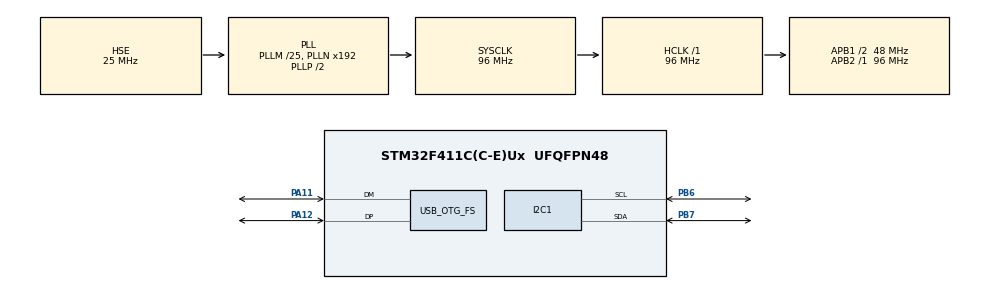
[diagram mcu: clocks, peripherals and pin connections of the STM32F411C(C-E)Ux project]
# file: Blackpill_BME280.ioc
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Mcu.Family=STM32F4
Mcu.Name=STM32F411C(C-E)Ux
Mcu.Package=UFQFPN48
NVIC.OTG_FS_IRQn=true\:0\:0\:false\:false\:true\:false\:true\:true
NVIC.PriorityGroup=NVIC_PRIORITYGROUP_4
PA11.Mode=Device_Only
PA11.Signal=USB_OTG_FS_DM
PA12.Mode=Device_Only
PA12.Signal=USB_OTG_FS_DP
PB6.Mode=I2C
PB6.Signal=I2C1_SCL
PB7.Mode=I2C
PB7.Signal=I2C1_SDA
PH0\ -\ OSC_IN.Mode=HSE-External-Oscillator
PH0\ -\ OSC_IN.Signal=RCC_OSC_IN
PH1\ -\ OSC_OUT.Mode=HSE-External-Oscillator
PH1\ -\ OSC_OUT.Signal=RCC_OSC_OUT
ProjectManager.HeapSize=0x200
ProjectManager.StackSize=0x400
ProjectManager.TargetToolchain=STM32CubeIDE
RCC.48MHZClocksFreq_Value=48000000
RCC.AHBFreq_Value=96000000
RCC.APB1CLKDivider=RCC_HCLK_DIV2
RCC.APB1Freq_Value=48000000
RCC.APB1TimFreq_Value=96000000
RCC.APB2Freq_Value=96000000
RCC.APB2TimFreq_Value=96000000
RCC.CortexFreq_Value=96000000
RCC.HCLKFreq_Value=96000000
RCC.HSE_VALUE=25000000
RCC.HSI_VALUE=16000000
RCC.LSE_VALUE=32768
RCC.PLLM=25
RCC.SYSCLKFreq_VALUE=96000000
RCC.SYSCLKSource=RCC_SYSCLKSOURCE_PLLCLK
RCC.VCOOutputFreq_Value=192000000
USB_DEVICE.CLASS_NAME_FS=CDC
USB_DEVICE.VirtualMode=Cdc
USB_DEVICE.VirtualModeFS=Cdc_FS
USB_OTG_FS.VirtualMode=Device_Only
VP_USB_DEVICE_VS_USB_DEVICE_CDC_FS.Mode=CDC_FS
board=custom

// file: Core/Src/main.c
/* USER CODE BEGIN Header */
/**
  ******************************************************************************
  * @file           : main.c
  * @brief          : Main program body
  ******************************************************************************
  * @attention
  *
  * Copyright (c) 2026 STMicroelectronics.
  * All rights reserved.
  *
  * This software is licensed under terms that can be found in the LICENSE file
  * in the root directory of this software component.
  * If no LICENSE file comes with this software, it is provided AS-IS.
  *
  ******************************************************************************
  */
/* USER CODE END Header */
#include "main.h"
#include "usb_device.h"

/* USER CODE BEGIN Includes */
#include "usbd_cdc_if.h"
#include "bme280.h"
#include <stdio.h>
/* USER CODE END Includes */

I2C_HandleTypeDef hi2c1;

/* USER CODE BEGIN PV */
BME280_t bme;
/* USER CODE END PV */

void SystemClock_Config(void);
static void MX_GPIO_Init(void);
static void MX_I2C1_Init(void);

/* USER CODE BEGIN 0 */

/* Send text over USB serial. CDC_Transmit_FS returns USBD_BUSY if the previous
 * transfer has not finished (or nobody has opened the port yet), so we retry
 * briefly and then give up instead of blocking forever. */
static void usb_print(const char *s, int len)
{
    uint32_t t0 = HAL_GetTick();
    while (CDC_Transmit_FS((uint8_t *)s, (uint16_t)len) == USBD_BUSY)
    {
        if (HAL_GetTick() - t0 > 50) break;
    }
}

/* USER CODE END 0 */

int main(void)
{

  /* MCU Configuration--------------------------------------------------------*/

  /* Reset of all peripherals, Initializes the Flash interface and the Systick. */
  HAL_Init();

  /* Configure the system clock */
  SystemClock_Config();

  /* Initialize all configured peripherals */
  MX_GPIO_Init();
  MX_I2C1_Init();
  MX_USB_DEVICE_Init();
  /* USER CODE BEGIN 2 */
  HAL_Delay(2000);

  uint8_t found = 0;
  for (uint8_t addr = 0x08; addr < 0x78; addr++)
  {
      if (HAL_I2C_IsDeviceReady(&hi2c1, addr << 1, 1, 10) == HAL_OK)
      {
          found = addr;
          break;
      }
  }

  /* Configure the sensor (checks chip ID, reads calibration, starts measuring) */
  HAL_StatusTypeDef st = HAL_ERROR;
  if (found)
  {
      st = BME280_Init(&bme, &hi2c1, found);
  }
  /* USER CODE END 2 */

  /* Infinite loop */
  /* USER CODE BEGIN WHILE */
  while (1)
  {
      char msg[96];
      int len;

      if (!found)
      {
          len = snprintf(msg, sizeof(msg), "No I2C device found. Check wiring.\r\n");
      }
      else if (st != HAL_OK)
      {
          /* chip_id 0x60 = BME280, 0x58 = BMP280, 0x00 = read failed */
          len = snprintf(msg, sizeof(msg),
                         "Init failed at 0x%02X: status=%d chip_id=0x%02X\r\n",
                         found, (int)st, bme.chip_id);
      }
      else
      {
          BME280_Data_t d;

          if (BME280_Read(&bme, &d) == HAL_OK)
          {
              long t = d.temp_c100;
              const char *sign = (t < 0) ? "-" : "";
              if (t < 0) t = -t;

              unsigned long p  = d.press_pa;
              unsigned long h100 = ((unsigned long)d.hum_q10 * 100UL) / 1024UL;

              len = snprintf(msg, sizeof(msg),
                             "T=%s%ld.%02ld C  P=%lu.%02lu hPa  H=%lu.%02lu %%\r\n",
                             sign, t / 100, t % 100,
                             p / 100, p % 100,
                             h100 / 100, h100 % 100);
          }
          else
          {
              len = snprintf(msg, sizeof(msg), "Read failed\r\n");
          }
      }

      usb_print(msg, len);
      HAL_GPIO_TogglePin(GPIOC, GPIO_PIN_13);   /* heartbeat LED */
      HAL_Delay(1000);
    /* USER CODE END WHILE */

  }
}

void SystemClock_Config(void)
{
  RCC_OscInitTypeDef RCC_OscInitStruct = {0};
  RCC_ClkInitTypeDef RCC_ClkInitStruct = {0};

  /** Configure the main internal regulator output voltage
  */
  __HAL_RCC_PWR_CLK_ENABLE();
  __HAL_PWR_VOLTAGESCALING_CONFIG(PWR_REGULATOR_VOLTAGE_SCALE1);

  /** Initializes the RCC Oscillators according to the specified parameters
  * in the RCC_OscInitTypeDef structure.
  */
  RCC_OscInitStruct.OscillatorType = RCC_OSCILLATORTYPE_HSE;
  RCC_OscInitStruct.HSEState = RCC_HSE_ON;
  RCC_OscInitStruct.PLL.PLLState = RCC_PLL_ON;
  RCC_OscInitStruct.PLL.PLLSource = RCC_PLLSOURCE_HSE;
  RCC_OscInitStruct.PLL.PLLM = 25;
  RCC_OscInitStruct.PLL.PLLN = 192;
  RCC_OscInitStruct.PLL.PLLP = RCC_PLLP_DIV2;
  RCC_OscInitStruct.PLL.PLLQ = 4;
  if (HAL_RCC_OscConfig(&RCC_OscInitStruct) != HAL_OK)
  {
    Error_Handler();
  }

  /** Initializes the CPU, AHB and APB buses clocks
  */
  RCC_ClkInitStruct.ClockType = RCC_CLOCKTYPE_HCLK|RCC_CLOCKTYPE_SYSCLK
                              |RCC_CLOCKTYPE_PCLK1|RCC_CLOCKTYPE_PCLK2;
  RCC_ClkInitStruct.SYSCLKSource = RCC_SYSCLKSOURCE_PLLCLK;
  RCC_ClkInitStruct.AHBCLKDivider = RCC_SYSCLK_DIV1;
  RCC_ClkInitStruct.APB1CLKDivider = RCC_HCLK_DIV2;
  RCC_ClkInitStruct.APB2CLKDivider = RCC_HCLK_DIV1;

  if (HAL_RCC_ClockConfig(&RCC_ClkInitStruct, FLASH_LATENCY_3) != HAL_OK)
  {
    Error_Handler();
  }
}

static void MX_I2C1_Init(void)
{

  hi2c1.Instance = I2C1;
  hi2c1.Init.ClockSpeed = 100000;
  hi2c1.Init.DutyCycle = I2C_DUTYCYCLE_2;
  hi2c1.Init.OwnAddress1 = 0;
  hi2c1.Init.AddressingMode = I2C_ADDRESSINGMODE_7BIT;
  hi2c1.Init.DualAddressMode = I2C_DUALADDRESS_DISABLE;
  hi2c1.Init.OwnAddress2 = 0;
  hi2c1.Init.GeneralCallMode = I2C_GENERALCALL_DISABLE;
  hi2c1.Init.NoStretchMode = I2C_NOSTRETCH_DISABLE;
  if (HAL_I2C_Init(&hi2c1) != HAL_OK)
  {
    Error_Handler();
  }

}

static void MX_GPIO_Init(void)
{

  /* GPIO Ports Clock Enable */
  __HAL_RCC_GPIOH_CLK_ENABLE();
  __HAL_RCC_GPIOA_CLK_ENABLE();
  __HAL_RCC_GPIOB_CLK_ENABLE();

}

void Error_Handler(void)
{
  __disable_irq();
  while (1)
  {
  }
}
